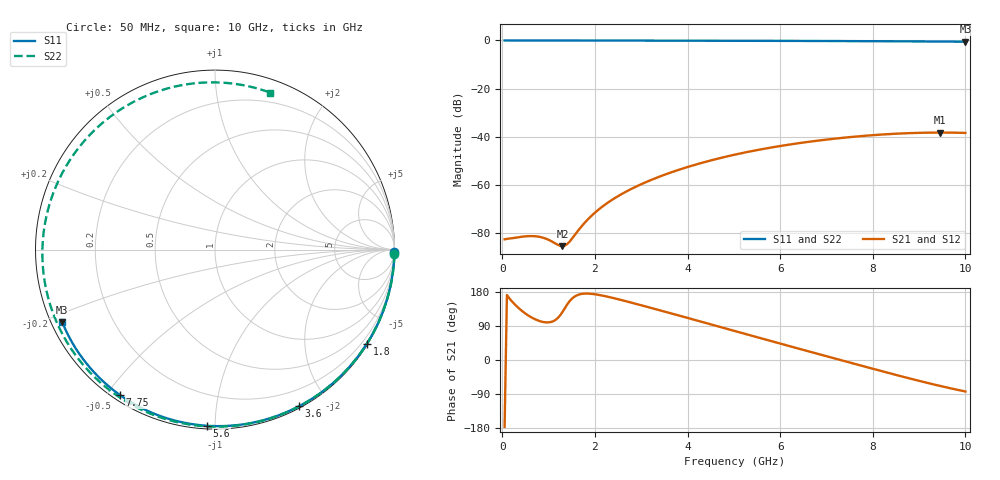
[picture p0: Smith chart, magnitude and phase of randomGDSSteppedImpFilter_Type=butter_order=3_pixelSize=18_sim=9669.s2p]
! freq	dB(S11)	phase(S11)	dB(S12)	phase(S12)
!  dB(S21)	phase(S21)	dB(S22)	phase(S22)
!S-par simulation data
#  GHz  S  DB  R 50
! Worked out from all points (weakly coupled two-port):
!   200 points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, 50 MHz to 10 GHz, reference 50 ohm
!   highest |S21| = -38.25 dB at 9.45 GHz (marker M1); lowest = -85.4 dB at 1.3 GHz (marker M2)
!   lowest |S11| = -0.5 dB at 10 GHz (marker M3), VSWR 33.63, Z = 1.56 - j11.3 ohm
!   |S11| at or under -10 dB: nowhere
!   |S22| runs from -0.7 to 0.0 dB; largest |S21 - S12| = 0
!   S11 on the Smith chart (normalised r, x): 50 MHz: open; 1.8 GHz: 0.03, -3.52; 3.6 GHz: 0.02, -1.67; 5.6 GHz: 0.02, -0.96; 7.75 GHz: 0.02, -0.54; 10 GHz: 0.03, -0.23
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0.05  -0.00 -0.9  -82.56 -176.5  -82.56 -176.5  -0.00 -1.4
0.65  -0.01 -11.6  -81.23 111.1  -81.23 111.1  -0.02 -18.6
1.3  -0.03 -23.0  -85.42 126.8  -85.42 126.8  -0.05 -36.9
1.6  -0.04 -28.3  -79.88 170.1  -79.88 170.1  -0.06 -45.2
1.75  -0.04 -30.9  -76.32 175.0  -76.32 175.0  -0.06 -49.3
1.8  -0.04 -31.7  -75.25 175.3  -75.25 175.3  -0.06 -50.7
2.1  -0.05 -36.9  -69.90 171.5  -69.90 171.5  -0.07 -58.8
2.45  -0.05 -42.8  -65.22 162.0  -65.22 162.0  -0.09 -68.2
2.9  -0.07 -50.3  -60.58 147.7  -60.58 147.7  -0.10 -80.0
3.4  -0.08 -58.5  -56.50 131.2  -56.50 131.2  -0.12 -92.9
3.6  -0.08 -61.8  -55.09 124.5  -55.09 124.5  -0.13 -98.0
4.3  -0.10 -72.9  -50.87 101.0  -50.87 101.0  -0.16 -115.7
5.05  -0.13 -84.4  -47.29 75.5  -47.29 75.5  -0.20 -134.5
5.6  -0.15 -92.6  -45.16 56.8  -45.16 56.8  -0.24 -148.4
6.15  -0.18 -100.7  -43.38 38.3  -43.38 38.3  -0.28 -162.6
6.7  -0.21 -108.6  -41.87 20.0  -41.87 20.0  -0.33 -177.4
7.25  -0.25 -116.3  -40.63 1.7  -40.63 1.7  -0.38 167.0
7.75  -0.28 -123.3  -39.71 -14.8  -39.71 -14.8  -0.43 151.9
8.35  -0.34 -131.6  -38.88 -34.5  -38.88 -34.5  -0.50 132.5
8.95  -0.40 -139.9  -38.39 -53.5  -38.39 -53.5  -0.56 111.4
9.45  -0.45 -146.8  -38.25 -68.4  -38.25 -68.4  -0.61 92.5
10  -0.52 -154.5  -38.39 -83.1  -38.39 -83.1  -0.66 70.6
